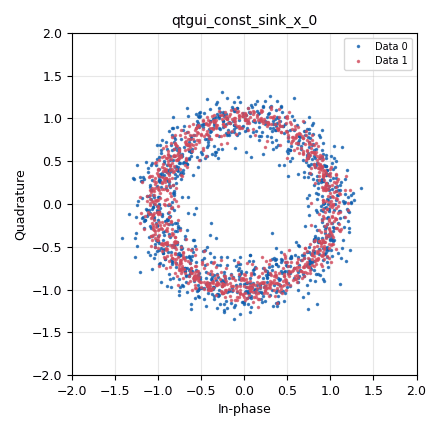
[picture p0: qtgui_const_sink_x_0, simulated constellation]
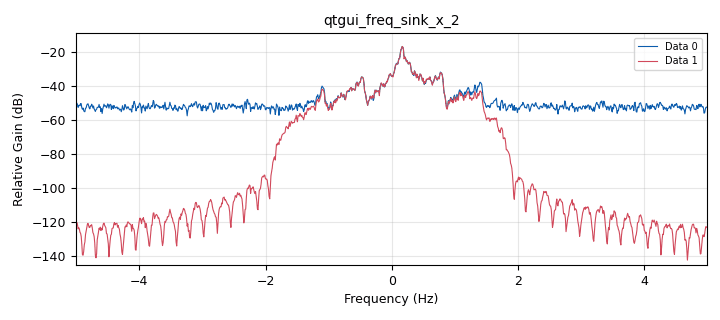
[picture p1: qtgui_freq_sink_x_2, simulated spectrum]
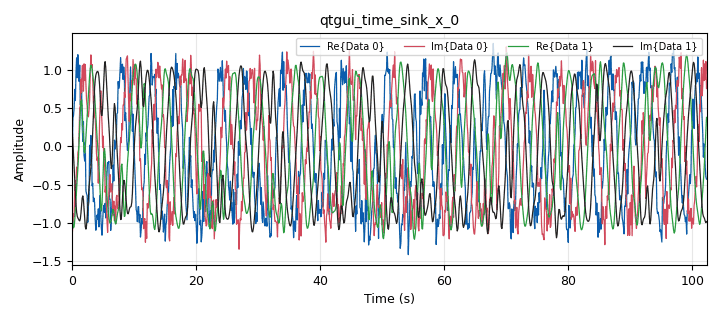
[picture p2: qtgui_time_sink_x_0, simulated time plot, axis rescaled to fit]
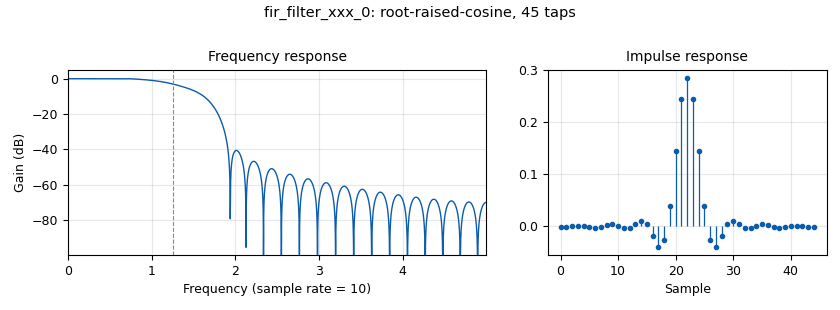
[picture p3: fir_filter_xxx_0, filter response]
options:
  parameters:
    author: J. Gier
    generate_options: qt_gui
    id: qpsk_trial1
    output_language: python
    title: QPSK Modulator / Demodulator
  states: {}

blocks:
- name: excess_bw
  id: variable
  parameters:
    value: '0.5'
  states: {}
- name: freq_offset
  id: variable_qtgui_range
  parameters:
    label: 'Channel: Freq Offset'
    start: '-500e-3'
    step: '100e-3'
    stop: '500e-3'
    value: '25e-3'
  states: {}
- name: noise_volt
  id: variable_qtgui_range
  parameters:
    label: 'Channel: Noise Voltage'
    start: '100e-3'
    step: '10e-3'
    stop: '1000e-2'
    value: '200e-3'
  states: {}
- name: oqpsk
  id: variable_constellation_rect
  parameters:
    const_points: '[-1-1j, -1+1j, 1+1j, 1-1j]'
    imag_sect: '2'
    real_sect: '2'
    rot_sym: '4'
    sym_map: '[0, 1, 3, 2]'
    w_imag_sect: '1'
    w_real_sect: '1'
  states: {}
- name: rrc_taps
  id: variable
  parameters:
    value: firdes.root_raised_cosine(1.0,samp_rate,samp_rate/sps,excess_bw,11*sps)
  states: {}
- name: samp_rate
  id: variable
  parameters:
    value: '10'
  states: {}
- name: sps
  id: variable
  parameters:
    value: '4'
  states: {}
- name: time_offset
  id: variable_qtgui_range
  parameters:
    label: 'Channel: time offset'
    start: '800e-3'
    step: '100e-6'
    stop: '1100e-3'
    value: '1.0005'
  states: {}
- name: variable_qtgui_label_0
  id: variable_qtgui_label
  parameters:
    label: freq_offset
    type: raw
    value: freq_offset
  states: {}
- name: analog_random_source_x_0
  id: analog_random_source_x
  parameters:
    max: '2'
    min: '0'
    num_samps: '1000'
    repeat: 'True'
    type: byte
  states: {}
- name: blocks_throttle2_0
  id: blocks_throttle2
  parameters:
    samples_per_second: samp_rate
    type: complex
  states: {}
- name: channels_channel_model_0
  id: channels_channel_model
  parameters:
    block_tags: 'True'
    epsilon: time_offset
    freq_offset: freq_offset
    noise_voltage: noise_volt
    seed: '0'
    taps: '1.0'
  states: {}
- name: digital_constellation_modulator_0
  id: digital_constellation_modulator
  parameters:
    constellation: oqpsk
    differential: 'True'
    excess_bw: '0.35'
    samples_per_symbol: '4'
  states: {}
- name: fir_filter_xxx_0
  id: fir_filter_xxx
  parameters:
    decim: '1'
    taps: rrc_taps
    type: ccc
  states: {}
- name: qtgui_const_sink_x_0
  id: qtgui_const_sink_x
  parameters:
    nconnections: '2'
    size: '1024'
    tr_mode: qtgui.TRIG_MODE_AUTO
    type: complex
  states: {}
- name: qtgui_freq_sink_x_2
  id: qtgui_freq_sink_x
  parameters:
    autoscale: 'True'
    average: '0.05'
    bw: samp_rate
    fc: '0'
    fftsize: '1024'
    nconnections: '2'
    tr_mode: qtgui.TRIG_MODE_AUTO
    type: complex
    ymin: '-10'
  states: {}
- name: qtgui_time_sink_x_0
  id: qtgui_time_sink_x
  parameters:
    nconnections: '2'
    size: '1024'
    srate: samp_rate
    tr_mode: qtgui.TRIG_MODE_AUTO
    type: complex
  states: {}

connections:
- [analog_random_source_x_0, '0', digital_constellation_modulator_0, '0']
- [blocks_throttle2_0, '0', channels_channel_model_0, '0']
- [channels_channel_model_0, '0', fir_filter_xxx_0, '0']
- [channels_channel_model_0, '0', qtgui_const_sink_x_0, '0']
- [channels_channel_model_0, '0', qtgui_freq_sink_x_2, '0']
- [channels_channel_model_0, '0', qtgui_time_sink_x_0, '0']
- [digital_constellation_modulator_0, '0', blocks_throttle2_0, '0']
- [fir_filter_xxx_0, '0', qtgui_const_sink_x_0, '1']
- [fir_filter_xxx_0, '0', qtgui_freq_sink_x_2, '1']
- [fir_filter_xxx_0, '0', qtgui_time_sink_x_0, '1']

metadata:
  file_format: 1
  grc_version: 3.10.12.0
